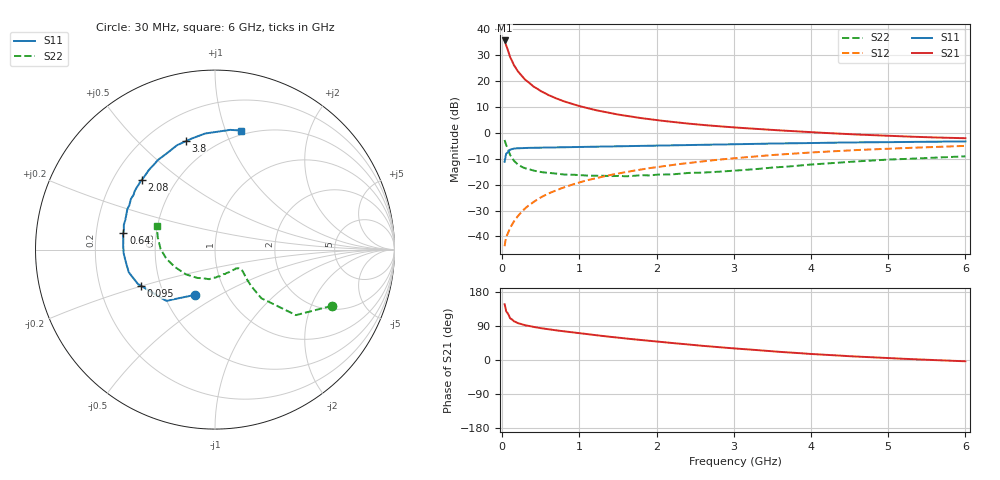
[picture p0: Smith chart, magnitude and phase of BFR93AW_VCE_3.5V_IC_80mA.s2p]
! Infineon Technologies  Discrete & RF Semiconductors
! BFR93AW
! VCE =  3.5 V,  IC =  80 mA
! Common Emitter S-Parameters:  Nov 2015
# GHz  S  MA  R  50
!  f  S11  S21  S12  S22
! GHz  MAG  ANG  MAG  ANG  MAG  ANG  MAG  ANG
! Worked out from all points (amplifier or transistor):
!   206 points, 30 MHz to 6 GHz, reference 50 ohm
!   highest |S21| = 35.6 dB at 30 MHz (marker M1)
!   |S21| within 3 dB of that: start of sweep to 63.86 MHz
!   unconditionally stable (mu >= 1): 193.9 MHz to 2.44 GHz
!   at 200 MHz: K = 1.01, MAG = 27.3 dB, |S12| = -32.2 dB
!   at 1.56 GHz: K = 1.07, MAG = 9.5 dB, |S12| = -15.4 dB
!   at 6 GHz: K = 0.95, MSG = 1.5 dB, |S12| = -5.1 dB
!   S11 on the Smith chart (normalised r, x): 30 MHz: 0.71, -0.39; 95 MHz: 0.39, -0.20; 640 MHz: 0.32, +0.08; 2.08 GHz: 0.32, +0.37; 3.8 GHz: 0.35, +0.70; 6 GHz: 0.46, +1.14
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0.03  0.2762 -114.0  59.95 147.2  0.0065 70.1  0.7228 -25.7
0.05  0.3941 -133.5  48.1 128.5  0.0097 67.9  0.5801 -39.0
0.095  0.46 -154.1  30.61 113.1  0.0138 67.0  0.3945 -45.3
0.1  0.4704 -156.0  28.89 110.3  0.0143 67.0  0.3743 -46.4
0.15  0.4966 -165.2  20.1 102.3  0.0194 69.1  0.2877 -45.2
0.2  0.5003 -170.7  15.37 97.5  0.0245 73.1  0.2452 -43.1
0.24  0.5041 -174.1  12.98 94.9  0.0287 74.1  0.2247 -41.2
0.26  0.506 -175.5  11.98 93.6  0.0309 74.6  0.2168 -40.4
0.3  0.5092 -177.7  10.39 91.5  0.0352 75.4  0.2057 -39.2
0.4  0.5122 177.4  7.842 87.4  0.0456 76.6  0.1867 -37.0
0.5  0.5137 173.7  6.324 84.0  0.0566 76.8  0.1739 -37.1
0.64  0.5189 169.7  5.008 80.0  0.0715 77.2  0.1665 -38.5
0.8  0.5263 164.9  4.016 75.5  0.0885 76.4  0.1561 -42.7
1.04  0.5304 158.8  3.141 69.6  0.1144 74.9  0.1506 -49.9
1.48  0.546 149.2  2.267 59.4  0.1612 71.2  0.147 -66.9
2.02  0.5628 137.4  1.731 48.2  0.2192 66.0  0.1558 -88.7
2.08  0.5637 136.2  1.692 47.1  0.2257 65.3  0.1561 -90.4
3.1  0.5992 116.8  1.236 29.2  0.3308 54.3  0.1897 -125.7
3.8  0.6254 105.1  1.063 18.8  0.3974 46.2  0.2289 -150.3
4.1  0.6348 100.5  1.004 14.8  0.4235 42.7  0.249 -159.4
5.1  0.6597 87.5  0.861 4.0  0.4985 31.5  0.3069 176.9
6  0.6793 77.5  0.782 -3.4  0.5566 22.0  0.3503 157.8
